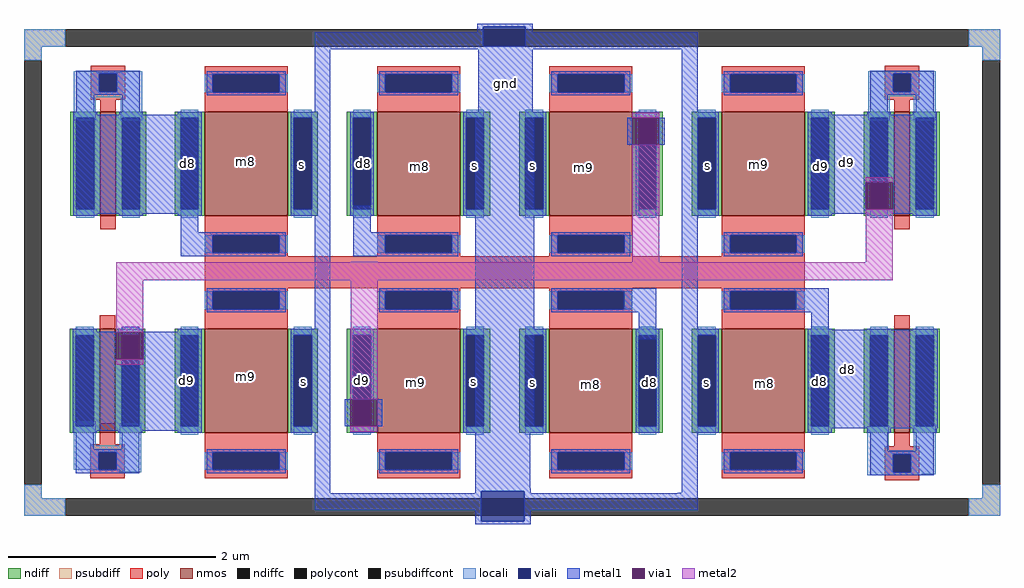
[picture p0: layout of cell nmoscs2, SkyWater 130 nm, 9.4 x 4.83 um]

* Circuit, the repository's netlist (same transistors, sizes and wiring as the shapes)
** sch_path: /home/deboradmk/opamp/mag/nmoscs2.sch
.subckt nmoscs2 D9 D8 GND
*.PININFO GND:B D9:B D8:B
XM8 D8 D8 GND GND sky130_fd_pr__nfet_01v8 L=0.8 W=1 nf=1 m=4
XM9 D9 D8 GND GND sky130_fd_pr__nfet_01v8 L=0.8 W=1 nf=1 m=4
XM1 D8 D8 D8 GND sky130_fd_pr__nfet_01v8 L=0.15 W=1 nf=1 m=2
XM2 D9 D9 D9 GND sky130_fd_pr__nfet_01v8 L=0.15 W=1 nf=1 m=2
.ends
.end

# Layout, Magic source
magic
tech sky130A
magscale 1 2
<< psubdiff >>
rect -290 831 -211 865
rect 1530 831 1590 865
rect -290 805 -256 831
rect 1556 805 1590 831
rect -290 -38 -256 -12
rect 1556 -38 1590 -12
rect -290 -72 -211 -38
rect 1530 -72 1590 -38
<< psubdiffcont >>
rect -211 831 1530 865
rect -290 -12 -256 805
rect 1556 -12 1590 805
rect -211 -72 1530 -38
<< poly >>
rect -161 779 -95 795
rect -161 745 -145 779
rect -111 745 -95 779
rect -161 729 -95 745
rect 1368 779 1434 795
rect 1368 745 1384 779
rect 1418 745 1434 779
rect 1368 729 1434 745
rect 1386 706 1416 729
rect 58 366 1214 428
rect -144 66 -114 106
rect -162 50 -96 66
rect 1386 62 1416 88
rect -162 16 -146 50
rect -112 16 -96 50
rect -162 0 -96 16
rect 1368 46 1434 62
rect 1368 12 1384 46
rect 1418 12 1434 46
rect 1368 -4 1434 12
<< polycont >>
rect -145 745 -111 779
rect 1384 745 1418 779
rect -146 16 -112 50
rect 1384 12 1418 46
<< locali >>
rect -290 831 -211 865
rect 1530 831 1590 865
rect -290 805 -256 831
rect 1556 805 1590 831
rect -194 782 -152 784
rect -104 782 -62 784
rect -194 779 -62 782
rect -194 745 -145 779
rect -111 745 -62 779
rect -194 734 -62 745
rect -194 690 -152 734
rect -104 690 -62 734
rect 1336 779 1466 784
rect 1336 745 1384 779
rect 1418 745 1466 779
rect 1336 736 1466 745
rect 1336 690 1378 736
rect 1424 690 1466 736
rect -194 64 -152 110
rect -106 64 -64 106
rect -194 50 -64 64
rect -194 16 -146 50
rect -112 16 -64 50
rect -106 12 -64 16
rect 1334 54 1376 100
rect 1424 54 1466 102
rect 1334 46 1466 54
rect 1334 12 1384 46
rect 1418 12 1466 46
rect 1334 8 1466 12
rect 1334 6 1438 8
rect -290 -38 -256 -12
rect 1556 -38 1590 -12
rect -290 -72 -211 -38
rect 1530 -72 1590 -38
<< viali >>
rect 595 865 676 870
rect 595 832 676 865
rect -145 745 -111 779
rect 1384 745 1418 779
rect -146 16 -112 50
rect 1384 12 1418 46
rect 591 -38 674 -25
rect 591 -72 674 -38
rect 591 -83 674 -72
<< metal1 >>
rect 583 870 690 876
rect 583 859 595 870
rect 270 832 595 859
rect 676 859 690 870
rect 676 832 1008 859
rect 270 826 1008 832
rect -189 779 -67 785
rect -189 745 -145 779
rect -111 745 -67 779
rect -189 739 -67 745
rect -189 700 -155 739
rect -101 700 -67 739
rect -194 510 52 700
rect 12 474 46 510
rect 12 428 74 474
rect -102 282 -68 292
rect -194 281 52 282
rect -194 229 -112 281
rect -60 229 52 281
rect -194 92 52 229
rect -190 56 -156 92
rect -102 56 -68 92
rect -190 50 -68 56
rect -190 16 -146 50
rect -112 16 -68 50
rect -190 10 -68 16
rect 270 -29 300 826
rect 585 706 690 826
rect 344 474 378 525
rect 344 428 406 474
rect 328 100 338 152
rect 390 100 400 152
rect 579 100 693 706
rect 872 642 882 694
rect 934 642 944 694
rect 865 320 928 366
rect 894 268 928 320
rect 579 -19 685 100
rect 579 -25 686 -19
rect 579 -29 591 -25
rect 270 -62 591 -29
rect 579 -83 591 -62
rect 674 -29 686 -25
rect 977 -28 1008 826
rect 1340 779 1462 785
rect 1340 745 1384 779
rect 1418 745 1462 779
rect 1340 739 1462 745
rect 1340 706 1374 739
rect 1428 706 1462 739
rect 1220 570 1466 700
rect 1220 518 1331 570
rect 1383 518 1466 570
rect 1220 510 1466 518
rect 1340 502 1374 510
rect 1197 320 1260 366
rect 1226 286 1260 320
rect 1224 96 1470 286
rect 1340 52 1374 88
rect 1428 52 1462 88
rect 1340 46 1462 52
rect 1340 12 1384 46
rect 1418 12 1462 46
rect 1340 6 1462 12
rect 969 -29 1008 -28
rect 674 -62 1008 -29
rect 674 -83 686 -62
rect 579 -89 686 -83
<< via1 >>
rect -112 229 -60 281
rect 338 100 390 152
rect 882 642 934 694
rect 1331 518 1383 570
<< metal2 >>
rect 882 694 934 704
rect 339 416 391 417
rect 882 416 934 642
rect 1331 570 1383 580
rect 1331 416 1383 518
rect -112 381 1383 416
rect -112 281 -60 381
rect -112 219 -60 229
rect 339 162 391 381
rect 338 153 391 162
rect 338 152 390 153
rect 338 90 390 100
use sky130_fd_pr__nfet_01v8_6H9P4D  sky130_fd_pr__nfet_01v8_6H9P4D_0
transform 1 0 1401 0 1 188
box -73 -126 73 126
use sky130_fd_pr__nfet_01v8_6H9P4D  sky130_fd_pr__nfet_01v8_6H9P4D_1
transform 1 0 -129 0 1 188
box -73 -126 73 126
use sky130_fd_pr__nfet_01v8_6H9P4D  sky130_fd_pr__nfet_01v8_6H9P4D_2
transform 1 0 -128 0 1 606
box -73 -126 73 126
use sky130_fd_pr__nfet_01v8_6H9P4D  sky130_fd_pr__nfet_01v8_6H9P4D_3
transform 1 0 1401 0 1 606
box -73 -126 73 126
use sky130_fd_pr__nfet_01v8_C77M8X  sky130_fd_pr__nfet_01v8_C77M8X_0
transform 1 0 636 0 1 397
box -636 -397 636 397
<< labels >>
flabel space 137 611 137 611 0 FreeSans 320 0 0 0 m8
flabel space 471 600 471 602 0 FreeSans 320 0 0 0 m8
flabel space 788 599 788 599 0 FreeSans 320 0 0 0 m9
flabel space 1124 605 1124 605 0 FreeSans 320 0 0 0 m9
flabel space 137 196 137 196 0 FreeSans 320 0 0 0 m9
flabel space 464 184 464 184 0 FreeSans 320 0 0 0 m9
flabel space 802 180 802 180 0 FreeSans 320 0 0 0 m8
flabel space 1136 182 1136 182 0 FreeSans 320 0 0 0 m8
flabel metal1 25 607 25 607 0 FreeSans 320 0 0 0 d8
flabel space 364 607 364 607 0 FreeSans 320 0 0 0 d8
flabel space 577 603 577 603 0 FreeSans 320 0 0 0 s
flabel metal1 690 603 690 603 0 FreeSans 320 0 0 0 s
flabel space 1027 603 1027 603 0 FreeSans 320 0 0 0 s
flabel space 244 605 244 605 0 FreeSans 320 0 0 0 s
flabel metal1 1244 601 1244 601 0 FreeSans 320 0 0 0 d9
flabel metal1 23 188 23 188 0 FreeSans 320 0 0 0 d9
flabel space 915 184 915 184 0 FreeSans 320 0 0 0 d8
flabel space 1025 184 1025 184 0 FreeSans 320 0 0 0 s
flabel space 575 186 575 186 0 FreeSans 320 0 0 0 s
flabel metal1 690 184 690 184 0 FreeSans 320 0 0 0 s
flabel space 248 186 248 186 0 FreeSans 320 0 0 0 s
flabel metal1 1243 187 1243 187 0 FreeSans 320 0 0 0 d8
flabel metal1 1297 210 1297 210 0 FreeSans 1120 0 0 0 d8
port 1 nsew
flabel metal1 1295 609 1295 609 0 FreeSans 1120 0 0 0 d9
port 2 nsew
flabel metal1 638 761 638 761 0 FreeSans 1120 0 0 0 gnd
port 4 nsew
flabel metal2 360 188 360 188 0 FreeSans 320 0 0 0 d9
<< end >>

# cell sky130_fd_pr__nfet_01v8_6H9P4D: kit device sky130_fd_pr__nfet_01v8, w 1 l 0.150 m 1 nf 1 diffcov 100 polycov 100 guard 0 glc 1 grc 1 gtc 1 gbc 1 tbcov 100 rlcov 100 topc 0 botc 0 poverlap 0 doverlap 1 lmin 0.15 wmin 0.42 compatible {sky130_fd_pr__nfet_01v8 sky130_fd_pr__nfet_01v8_lvt sky130_fd_bs_flash__special_sonosfet_star sky130_fd_pr__nfet_g5v0d10v5 sky130_fd_pr__nfet_05v0_nvt sky130_fd_pr__nfet_03v3_nvt} full_metal 1 viasrc 100 viadrn 100 viagate 100 viagb 0 viagr 0 viagl 0 viagt 0

# cell sky130_fd_pr__nfet_01v8_C77M8X: kit device sky130_fd_pr__nfet_01v8, w 1 l 0.8 m 2 nf 4 diffcov 100 polycov 100 guard 0 glc 1 grc 1 gtc 1 gbc 1 tbcov 100 rlcov 100 topc 1 botc 1 poverlap 0 doverlap 0 lmin 0.15 wmin 0.42 compatible {sky130_fd_pr__nfet_01v8 sky130_fd_pr__nfet_01v8_lvt sky130_fd_bs_flash__special_sonosfet_star sky130_fd_pr__nfet_g5v0d10v5 sky130_fd_pr__nfet_05v0_nvt sky130_fd_pr__nfet_03v3_nvt} full_metal 1 viasrc 100 viadrn 100 viagate 100 viagb 0 viagr 0 viagl 0 viagt 0
